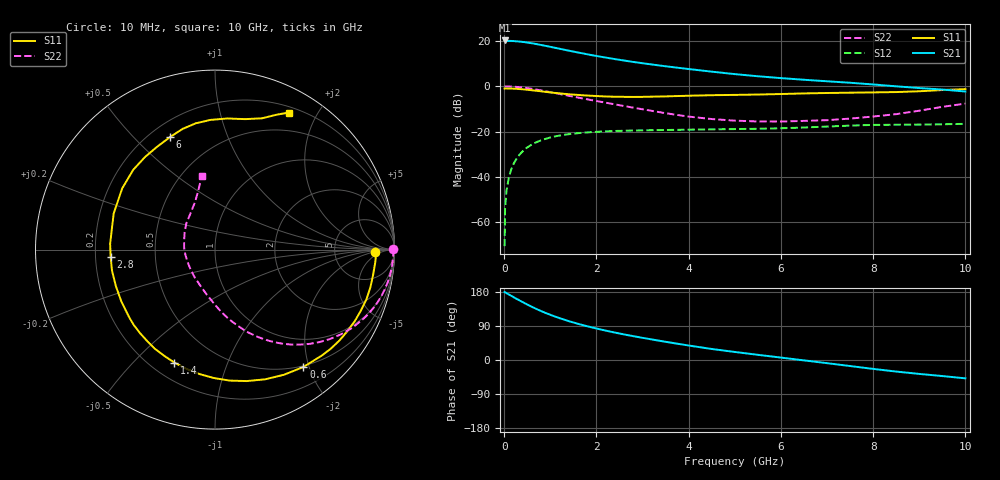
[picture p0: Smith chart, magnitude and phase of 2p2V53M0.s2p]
! (c) 2009  Infineon Technologies AG, Munich
! Infineon Technologies  Discrete & RF Semiconductors
! BFP420
! VCE =  2.5 V,  IC =  3.0 mA
! Common Emitter S-Parameters:  Nov 2009
# GHz  S  MA  R  50
!  f  S11  S21  S12  S22
! GHz  MAG  ANG  MAG  ANG  MAG  ANG  MAG  ANG
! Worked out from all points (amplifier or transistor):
!   46 points, 10 MHz to 10 GHz, reference 50 ohm
!   highest |S21| = 20.2 dB at 10 MHz (marker M1)
!   |S21| within 3 dB of that: start of sweep to 1.047 GHz
!   unconditionally stable (mu >= 1): start of sweep to 10.4 MHz; 3.525 GHz to end of sweep
!   at 300 MHz: K = 0.06, MSG = 25.4 dB, |S12| = -31.0 dB
!   at 1.7 GHz: K = 0.44, MSG = 17.5 dB, |S12| = -20.5 dB
!   at 10 GHz: K = 1.17, MAG = 4.6 dB, |S12| = -16.5 dB
!   lowest NFmin = 0.57 dB at 900 MHz
!   S11 on the Smith chart (normalised r, x): 10 MHz: 17, -3; 600 MHz: 0.48, -1.91; 1.4 GHz: 0.29, -0.66; 2.8 GHz: 0.26, -0.03; 6 GHz: 0.28, +0.64; 10 GHz: 0.27, +1.65
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0.01  0.8933 -1.0  10.23 179.3  0.0003 36.9  0.9922 0.1
0.02  0.8974 -2.0  9.951 178.8  0.002 81.6  0.9932 -1.0
0.05  0.8958 -4.4  9.985 176.5  0.0049 86.2  0.9928 -2.6
0.1  0.892 -9.2  10.02 173.1  0.0096 84.8  0.9907 -5.2
0.2  0.8881 -18.1  9.931 166.2  0.0191 79.8  0.9799 -10.5
0.35  0.8662 -31.6  9.639 156.1  0.0326 72.7  0.9517 -18.1
0.5  0.8388 -44.6  9.209 146.5  0.0449 65.8  0.9109 -25.2
0.6  0.8187 -53.0  8.882 140.4  0.0521 61.5  0.8801 -29.7
0.7  0.7961 -61.2  8.527 134.6  0.0587 57.4  0.8463 -33.9
0.9  0.7536 -76.4  7.777 124.1  0.0697 50.1  0.7776 -41.5
1.2  0.6983 -97.3  6.723 110.4  0.0821 41.1  0.678 -51.3
1.4  0.6688 -109.8  6.101 102.5  0.088 36.1  0.6187 -56.8
1.7  0.6341 -126.7  5.32 92.2  0.0947 30.0  0.5406 -64.0
2.2  0.5966 -151.0  4.3 77.6  0.1017 22.1  0.4357 -74.1
2.8  0.5829 -176.1  3.44 62.9  0.1061 15.0  0.338 -85.6
3.5  0.5991 160.5  2.761 48.0  0.1089 9.2  0.2554 -100.3
4.5  0.6365 135.7  2.101 29.1  0.1125 3.5  0.1899 -127.4
5.5  0.658 119.2  1.664 13.7  0.116 -0.2  0.1679 -155.5
6  0.6755 111.7  1.515 6.4  0.1188 -1.5  0.1676 -170.5
7  0.7117 98.7  1.29 -8.4  0.1295 -5.1  0.1793 163.2
8.5  0.7463 76.9  0.998 -30.5  0.1423 -15.8  0.2435 124.2
10  0.8679 61.6  0.767 -48.4  0.1489 -22.6  0.4153 100.3
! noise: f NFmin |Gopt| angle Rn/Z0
0.9  0.57  0.35  33  0.18
1.8  1.02  0.2  79  0.14
2.4  1.1  0.23  104  0.14
3  1.25  0.24  144  0.11
4  1.46  0.33  -159  0.1
5  1.9  0.39  -128  0.22
6  2.46  0.48  -107  0.35
